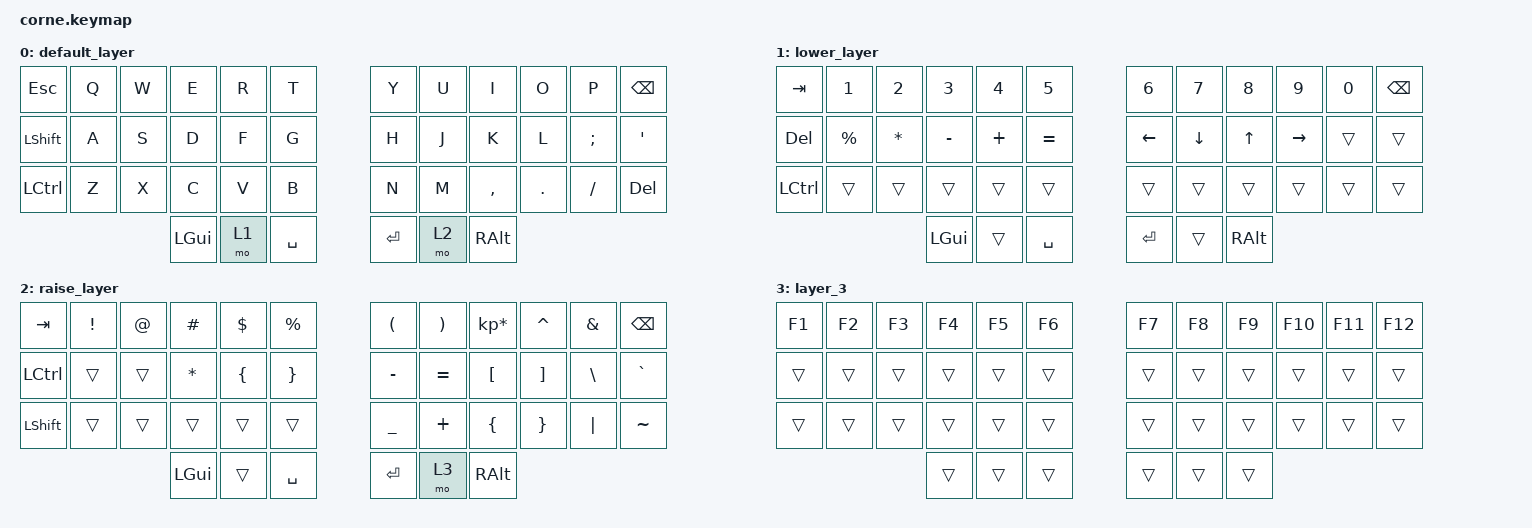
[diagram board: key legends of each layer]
/*
 * Copyright (c) 2020 The ZMK Contributors
 *
 * SPDX-License-Identifier: MIT
 */

#include <behaviors.dtsi>
#include <dt-bindings/zmk/keys.h>

/ {
    keymap {
        compatible = "zmk,keymap";

        default_layer {
            // -----------------------------------------------------------------------------------------
            // |  TAB |  Q  |  W  |  E  |  R  |  T  |   |  Y  |  U   |  I  |  O  |  P  | BKSP |
            // | CTRL |  A  |  S  |  D  |  F  |  G  |   |  H  |  J   |  K  |  L  |  ;  |  '   |
            // | SHFT |  Z  |  X  |  C  |  V  |  B  |   |  N  |  M   |  ,  |  .  |  /  | ESC  |
            //                    | GUI | LWR | SPC |   | ENT | RSE  | ALT |

            bindings = <
&kp ESC         &kp Q  &kp W  &kp E     &kp R  &kp T        &kp Y    &kp U  &kp I      &kp O    &kp P     &kp BSPC
&kp LEFT_SHIFT  &kp A  &kp S  &kp D     &kp F  &kp G        &kp H    &kp J  &kp K      &kp L    &kp SEMI  &kp SQT
&kp LCTRL       &kp Z  &kp X  &kp C     &kp V  &kp B        &kp N    &kp M  &kp COMMA  &kp DOT  &kp FSLH  &kp DEL
                              &kp LGUI  &mo 1  &kp SPACE    &kp RET  &mo 2  &kp RALT
            >;
        };

        lower_layer {
            // -----------------------------------------------------------------------------------------
            // |  TAB |  1  |  2  |  3  |  4  |  5  |   |  6  |  7  |  8  |  9  |  0  | BKSP |
            // | BTCLR| BT1 | BT2 | BT3 | BT4 | BT5 |   | LFT | DWN |  UP | RGT |     |      |
            // | SHFT |     |     |     |     |     |   |     |     |     |     |     |      |
            //                    | GUI |     | SPC |   | ENT |     | ALT |

            bindings = <
&kp TAB    &kp N1       &kp N2        &kp N3     &kp N4    &kp N5       &kp N6    &kp N7    &kp N8    &kp N9     &kp N0  &kp BSPC
&kp DEL    &kp PERCENT  &kp ASTERISK  &kp MINUS  &kp PLUS  &kp EQUAL    &kp LEFT  &kp DOWN  &kp UP    &kp RIGHT  &trans  &trans
&kp LCTRL  &trans       &trans        &trans     &trans    &trans       &trans    &trans    &trans    &trans     &trans  &trans
                                      &kp LGUI   &trans    &kp SPACE    &kp RET   &trans    &kp RALT
            >;
        };

        raise_layer {
            // -----------------------------------------------------------------------------------------
            // |  TAB |  !  |  @  |  #  |  $  |  %  |   |  ^  |  &  |  *  |  (  |  )  | BKSP |
            // | CTRL |     |     |     |     |     |   |  -  |  =  |  [  |  ]  |  \  |  `   |
            // | SHFT |     |     |     |     |     |   |  _  |  +  |  {  |  }  | "|" |  ~   |
            //                    | GUI |     | SPC |   | ENT |     | ALT |

            bindings = <
&kp TAB    &kp EXCL  &kp AT  &kp HASH   &kp DLLR        &kp PRCNT          &kp LEFT_PARENTHESIS  &kp RIGHT_PARENTHESIS  &kp KP_MULTIPLY  &kp CARET  &kp AMPS  &kp BSPC
&kp LCTRL  &trans    &trans  &kp ASTRK  &kp LEFT_BRACE  &kp RIGHT_BRACE    &kp MINUS             &kp EQUAL              &kp LBKT         &kp RBKT   &kp BSLH  &kp GRAVE
&kp LSHFT  &trans    &trans  &trans     &trans          &trans             &kp UNDER             &kp PLUS               &kp LBRC         &kp RBRC   &kp PIPE  &kp TILDE
                             &kp LGUI   &trans          &kp SPACE          &kp RET               &mo 3                  &kp RALT
            >;
        };

        layer_3 {
            bindings = <
&kp F1  &kp F2  &kp F3  &kp F4  &kp F5  &kp F6    &kp F7  &kp F8  &kp F9  &kp F10  &kp F11  &kp F12
&trans  &trans  &trans  &trans  &trans  &trans    &trans  &trans  &trans  &trans   &trans   &trans
&trans  &trans  &trans  &trans  &trans  &trans    &trans  &trans  &trans  &trans   &trans   &trans
                        &trans  &trans  &trans    &trans  &trans  &trans
            >;
        };
    };
};
